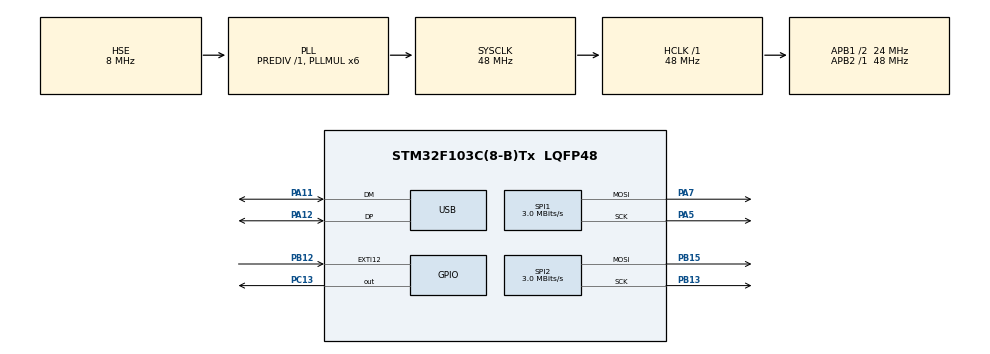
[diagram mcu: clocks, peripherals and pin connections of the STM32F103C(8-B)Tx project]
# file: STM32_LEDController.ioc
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Dma.Request0=SPI2_TX
Dma.Request1=SPI1_TX
Dma.SPI1_TX.1.Direction=DMA_MEMORY_TO_PERIPH
Dma.SPI1_TX.1.Instance=DMA1_Channel3
Dma.SPI1_TX.1.MemDataAlignment=DMA_MDATAALIGN_BYTE
Dma.SPI1_TX.1.MemInc=DMA_MINC_ENABLE
Dma.SPI1_TX.1.Mode=DMA_NORMAL
Dma.SPI1_TX.1.PeriphDataAlignment=DMA_PDATAALIGN_BYTE
Dma.SPI1_TX.1.PeriphInc=DMA_PINC_DISABLE
Dma.SPI1_TX.1.Priority=DMA_PRIORITY_HIGH
Dma.SPI2_TX.0.Direction=DMA_MEMORY_TO_PERIPH
Dma.SPI2_TX.0.Instance=DMA1_Channel5
Dma.SPI2_TX.0.MemDataAlignment=DMA_MDATAALIGN_BYTE
Dma.SPI2_TX.0.MemInc=DMA_MINC_ENABLE
Dma.SPI2_TX.0.Mode=DMA_NORMAL
Dma.SPI2_TX.0.PeriphDataAlignment=DMA_PDATAALIGN_BYTE
Dma.SPI2_TX.0.PeriphInc=DMA_PINC_DISABLE
Dma.SPI2_TX.0.Priority=DMA_PRIORITY_HIGH
Mcu.Family=STM32F1
Mcu.Name=STM32F103C(8-B)Tx
Mcu.Package=LQFP48
NVIC.DMA1_Channel3_IRQn=true\:0\:0\:false\:false\:true\:false\:true
NVIC.DMA1_Channel5_IRQn=true\:0\:0\:false\:false\:true\:false\:true
NVIC.EXTI15_10_IRQn=true\:0\:0\:false\:false\:true\:true\:true
NVIC.PriorityGroup=NVIC_PRIORITYGROUP_4
NVIC.TIM2_IRQn=true\:0\:0\:false\:false\:true\:true\:true
NVIC.TIM3_IRQn=true\:0\:0\:false\:false\:true\:true\:true
NVIC.TIM4_IRQn=true\:0\:0\:false\:false\:true\:true\:true
NVIC.USB_LP_CAN1_RX0_IRQn=true\:0\:0\:false\:false\:true\:false\:true
PA11.Mode=Device
PA11.Signal=USB_DM
PA12.Mode=Device
PA12.Signal=USB_DP
PA13.Mode=Trace_Asynchronous_SW
PA13.Signal=SYS_JTMS-SWDIO
PA14.Mode=Trace_Asynchronous_SW
PA14.Signal=SYS_JTCK-SWCLK
PA5.Mode=TX_Only_Simplex_Unidirect_Master
PA5.Signal=SPI1_SCK
PA7.Mode=TX_Only_Simplex_Unidirect_Master
PA7.Signal=SPI1_MOSI
PB12.GPIO_ModeDefaultEXTI=GPIO_MODE_IT_RISING_FALLING
PB12.Signal=GPXTI12
PB13.Mode=TX_Only_Simplex_Unidirect_Master
PB13.Signal=SPI2_SCK
PB15.Mode=TX_Only_Simplex_Unidirect_Master
PB15.Signal=SPI2_MOSI
PB3.Mode=Trace_Asynchronous_SW
PB3.Signal=SYS_JTDO-TRACESWO
PC13-TAMPER-RTC.Signal=GPIO_Output
PD0-OSC_IN.Mode=HSE-External-Oscillator
PD0-OSC_IN.Signal=RCC_OSC_IN
PD1-OSC_OUT.Mode=HSE-External-Oscillator
PD1-OSC_OUT.Signal=RCC_OSC_OUT
ProjectManager.HeapSize=0x200
ProjectManager.StackSize=0x400
ProjectManager.TargetToolchain=STM32CubeIDE
RCC.AHBFreq_Value=48000000
RCC.APB1CLKDivider=RCC_HCLK_DIV2
RCC.APB1Freq_Value=24000000
RCC.APB1TimFreq_Value=48000000
RCC.APB2Freq_Value=48000000
RCC.APB2TimFreq_Value=48000000
RCC.HCLKFreq_Value=48000000
RCC.PLLMUL=RCC_PLL_MUL6
RCC.SYSCLKFreq_VALUE=48000000
RCC.SYSCLKSource=RCC_SYSCLKSOURCE_PLLCLK
RCC.USBFreq_Value=48000000
SPI1.BaudRatePrescaler=SPI_BAUDRATEPRESCALER_16
SPI1.CalculateBaudRate=3.0 MBits/s
SPI1.Direction=SPI_DIRECTION_2LINES
SPI1.Mode=SPI_MODE_MASTER
SPI1.VirtualType=VM_MASTER
SPI2.BaudRatePrescaler=SPI_BAUDRATEPRESCALER_8
SPI2.CalculateBaudRate=3.0 MBits/s
SPI2.Direction=SPI_DIRECTION_2LINES
SPI2.Mode=SPI_MODE_MASTER
SPI2.VirtualType=VM_MASTER
TIM2.Period=3000
TIM2.Prescaler=48000
TIM3.Period=3000
TIM3.Prescaler=48000
TIM4.Period=3000
TIM4.Prescaler=48000
USB.low_power_enable=DISABLE
USB_DEVICE.CLASS_NAME_FS=CDC
USB_DEVICE.PRODUCT_STRING_CDC_FS=STM32 Virtual ComPort
USB_DEVICE.USBD_DEBUG_LEVEL=0
USB_DEVICE.USBD_MAX_STR_DESC_SIZ=1024
USB_DEVICE.USBD_SELF_POWERED=0
USB_DEVICE.VirtualMode=Cdc
USB_DEVICE.VirtualModeFS=Cdc_FS
VP_TIM2_VS_ClockSourceINT.Mode=Internal
VP_TIM3_VS_ClockSourceINT.Mode=Internal
VP_TIM4_VS_ClockSourceINT.Mode=Internal
VP_USB_DEVICE_VS_USB_DEVICE_CDC_FS.Mode=CDC_FS
board=custom

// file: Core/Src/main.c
/* USER CODE BEGIN Header */
/**
 ******************************************************************************
 * @file           : main.c
 * @brief          : Main program body
 ******************************************************************************
 * @attention
 *
 * <h2><center>&copy; Copyright (c) 2020 STMicroelectronics.
 * All rights reserved.</center></h2>
 *
 * This software component is licensed by ST under BSD 3-Clause license,
 * the "License"; You may not use this file except in compliance with the
 * License. You may obtain a copy of the License at:
 *                        opensource.org/licenses/BSD-3-Clause
 *
 ******************************************************************************
 */
/* USER CODE END Header */

#include "main.h"
#include "usb_device.h"

/* USER CODE BEGIN Includes */
#include "led_app.h"
#include "stdio.h"
#include "led_test.h"
#include "button_app.h"
/* USER CODE END Includes */

/* USER CODE BEGIN PD */
#include "usbd_cdc_if.h"
/* USER CODE END PD */

SPI_HandleTypeDef hspi1;
SPI_HandleTypeDef hspi2;
DMA_HandleTypeDef hdma_spi1_tx;
DMA_HandleTypeDef hdma_spi2_tx;

TIM_HandleTypeDef htim2;
TIM_HandleTypeDef htim3;
TIM_HandleTypeDef htim4;

void SystemClock_Config(void);
static void MX_GPIO_Init(void);
static void MX_DMA_Init(void);
static void MX_SPI2_Init(void);
static void MX_SPI1_Init(void);
static void MX_TIM2_Init(void);
static void MX_TIM3_Init(void);
static void MX_TIM4_Init(void);

int main(void) {

	/* MCU Configuration--------------------------------------------------------*/
-
	/* Reset of all peripherals, Initializes the Flash interface and the Systick. */
	HAL_Init();

	/* Configure the system clock */
	SystemClock_Config();

	/* USER CODE BEGIN SysInit */
	debug_log("Q-loud LED Controller v1.0");
	/* USER CODE END SysInit */

	/* Initialize all configured peripherals */
	MX_GPIO_Init();
	MX_DMA_Init();
	MX_SPI2_Init();
	MX_SPI1_Init();
	MX_TIM2_Init();
	MX_TIM3_Init();
	MX_USB_DEVICE_Init();
	MX_TIM4_Init();
	/* USER CODE BEGIN 2 */
	HAL_GPIO_WritePin(GPIOC, GPIO_PIN_13, GPIO_PIN_RESET);
	HAL_Delay(1000);
	HAL_GPIO_WritePin(GPIOC, GPIO_PIN_13, GPIO_PIN_SET);
	USB_initRxConfig();
	initializeSPIAdapter(&hspi1, &hspi2);
	initializeLEDApplication(&htim2, &htim3);
	initializeButtonApp(GPIOB, GPIO_PIN_12);
	debug_log("Initialization done.");
#ifdef TEST_ACTIVE
	initTestTimer(&htim4);
#endif
	/* USER CODE END 2 */

	/* Infinite loop */
	while (1) {

		/* USER CODE BEGIN 3 */
		runLEDApplication();
	}
	/* USER CODE END 3 */
}

void SystemClock_Config(void) {
	RCC_OscInitTypeDef RCC_OscInitStruct = { 0 };
	RCC_ClkInitTypeDef RCC_ClkInitStruct = { 0 };
	RCC_PeriphCLKInitTypeDef PeriphClkInit = { 0 };

	/** Initializes the CPU, AHB and APB busses clocks
	 */
	RCC_OscInitStruct.OscillatorType = RCC_OSCILLATORTYPE_HSE;
	RCC_OscInitStruct.HSEState = RCC_HSE_ON;
	RCC_OscInitStruct.HSEPredivValue = RCC_HSE_PREDIV_DIV1;
	RCC_OscInitStruct.HSIState = RCC_HSI_ON;
	RCC_OscInitStruct.PLL.PLLState = RCC_PLL_ON;
	RCC_OscInitStruct.PLL.PLLSource = RCC_PLLSOURCE_HSE;
	RCC_OscInitStruct.PLL.PLLMUL = RCC_PLL_MUL6;
	if (HAL_RCC_OscConfig(&RCC_OscInitStruct) != HAL_OK) {
		Error_Handler();
	}
	/** Initializes the CPU, AHB and APB busses clocks
	 */
	RCC_ClkInitStruct.ClockType = RCC_CLOCKTYPE_HCLK | RCC_CLOCKTYPE_SYSCLK
			| RCC_CLOCKTYPE_PCLK1 | RCC_CLOCKTYPE_PCLK2;
	RCC_ClkInitStruct.SYSCLKSource = RCC_SYSCLKSOURCE_PLLCLK;
	RCC_ClkInitStruct.AHBCLKDivider = RCC_SYSCLK_DIV1;
	RCC_ClkInitStruct.APB1CLKDivider = RCC_HCLK_DIV2;
	RCC_ClkInitStruct.APB2CLKDivider = RCC_HCLK_DIV1;

	if (HAL_RCC_ClockConfig(&RCC_ClkInitStruct, FLASH_LATENCY_1) != HAL_OK) {
		Error_Handler();
	}
	PeriphClkInit.PeriphClockSelection = RCC_PERIPHCLK_USB;
	PeriphClkInit.UsbClockSelection = RCC_USBCLKSOURCE_PLL;
	if (HAL_RCCEx_PeriphCLKConfig(&PeriphClkInit) != HAL_OK) {
		Error_Handler();
	}
}

static void MX_SPI1_Init(void) {

	/* SPI1 parameter configuration*/
	hspi1.Instance = SPI1;
	hspi1.Init.Mode = SPI_MODE_MASTER;
	hspi1.Init.Direction = SPI_DIRECTION_2LINES;
	hspi1.Init.DataSize = SPI_DATASIZE_8BIT;
	hspi1.Init.CLKPolarity = SPI_POLARITY_LOW;
	hspi1.Init.CLKPhase = SPI_PHASE_1EDGE;
	hspi1.Init.NSS = SPI_NSS_SOFT;
	hspi1.Init.BaudRatePrescaler = SPI_BAUDRATEPRESCALER_16;
	hspi1.Init.FirstBit = SPI_FIRSTBIT_MSB;
	hspi1.Init.TIMode = SPI_TIMODE_DISABLE;
	hspi1.Init.CRCCalculation = SPI_CRCCALCULATION_DISABLE;
	hspi1.Init.CRCPolynomial = 10;
	if (HAL_SPI_Init(&hspi1) != HAL_OK) {
		Error_Handler();
	}

}

static void MX_SPI2_Init(void) {

	/* SPI2 parameter configuration*/
	hspi2.Instance = SPI2;
	hspi2.Init.Mode = SPI_MODE_MASTER;
	hspi2.Init.Direction = SPI_DIRECTION_2LINES;
	hspi2.Init.DataSize = SPI_DATASIZE_8BIT;
	hspi2.Init.CLKPolarity = SPI_POLARITY_LOW;
	hspi2.Init.CLKPhase = SPI_PHASE_1EDGE;
	hspi2.Init.NSS = SPI_NSS_SOFT;
	hspi2.Init.BaudRatePrescaler = SPI_BAUDRATEPRESCALER_8;
	hspi2.Init.FirstBit = SPI_FIRSTBIT_MSB;
	hspi2.Init.TIMode = SPI_TIMODE_DISABLE;
	hspi2.Init.CRCCalculation = SPI_CRCCALCULATION_DISABLE;
	hspi2.Init.CRCPolynomial = 10;
	if (HAL_SPI_Init(&hspi2) != HAL_OK) {
		Error_Handler();
	}

}

static void MX_TIM2_Init(void) {

	TIM_ClockConfigTypeDef sClockSourceConfig = { 0 };
	TIM_MasterConfigTypeDef sMasterConfig = { 0 };

	/* USER CODE BEGIN TIM2_Init 1 */
	htim2.Init.RepetitionCounter = 1;
	/* USER CODE END TIM2_Init 1 */
	htim2.Instance = TIM2;
	htim2.Init.Prescaler = 48000;
	htim2.Init.CounterMode = TIM_COUNTERMODE_UP;
	htim2.Init.Period = 3000;
	htim2.Init.ClockDivision = TIM_CLOCKDIVISION_DIV1;
	htim2.Init.AutoReloadPreload = TIM_AUTORELOAD_PRELOAD_DISABLE;
	if (HAL_TIM_Base_Init(&htim2) != HAL_OK) {
		Error_Handler();
	}
	sClockSourceConfig.ClockSource = TIM_CLOCKSOURCE_INTERNAL;
	if (HAL_TIM_ConfigClockSource(&htim2, &sClockSourceConfig) != HAL_OK) {
		Error_Handler();
	}
	sMasterConfig.MasterOutputTrigger = TIM_TRGO_RESET;
	sMasterConfig.MasterSlaveMode = TIM_MASTERSLAVEMODE_DISABLE;
	if (HAL_TIMEx_MasterConfigSynchronization(&htim2, &sMasterConfig)
			!= HAL_OK) {
		Error_Handler();
	}

}

static void MX_TIM3_Init(void) {

	TIM_ClockConfigTypeDef sClockSourceConfig = { 0 };
	TIM_MasterConfigTypeDef sMasterConfig = { 0 };

	htim3.Instance = TIM3;
	htim3.Init.Prescaler = 48000;
	htim3.Init.CounterMode = TIM_COUNTERMODE_UP;
	htim3.Init.Period = 3000;
	htim3.Init.ClockDivision = TIM_CLOCKDIVISION_DIV1;
	htim3.Init.AutoReloadPreload = TIM_AUTORELOAD_PRELOAD_DISABLE;
	if (HAL_TIM_Base_Init(&htim3) != HAL_OK) {
		Error_Handler();
	}
	sClockSourceConfig.ClockSource = TIM_CLOCKSOURCE_INTERNAL;
	if (HAL_TIM_ConfigClockSource(&htim3, &sClockSourceConfig) != HAL_OK) {
		Error_Handler();
	}
	sMasterConfig.MasterOutputTrigger = TIM_TRGO_RESET;
	sMasterConfig.MasterSlaveMode = TIM_MASTERSLAVEMODE_DISABLE;
	if (HAL_TIMEx_MasterConfigSynchronization(&htim3, &sMasterConfig)
			!= HAL_OK) {
		Error_Handler();
	}

}

static void MX_TIM4_Init(void) {

	TIM_ClockConfigTypeDef sClockSourceConfig = { 0 };
	TIM_MasterConfigTypeDef sMasterConfig = { 0 };

	htim4.Instance = TIM4;
	htim4.Init.Prescaler = 48000;
	htim4.Init.CounterMode = TIM_COUNTERMODE_UP;
	htim4.Init.Period = 3000;
	htim4.Init.ClockDivision = TIM_CLOCKDIVISION_DIV1;
	htim4.Init.AutoReloadPreload = TIM_AUTORELOAD_PRELOAD_DISABLE;
	if (HAL_TIM_Base_Init(&htim4) != HAL_OK) {
		Error_Handler();
	}
	sClockSourceConfig.ClockSource = TIM_CLOCKSOURCE_INTERNAL;
	if (HAL_TIM_ConfigClockSource(&htim4, &sClockSourceConfig) != HAL_OK) {
		Error_Handler();
	}
	sMasterConfig.MasterOutputTrigger = TIM_TRGO_RESET;
	sMasterConfig.MasterSlaveMode = TIM_MASTERSLAVEMODE_DISABLE;
	if (HAL_TIMEx_MasterConfigSynchronization(&htim4, &sMasterConfig)
			!= HAL_OK) {
		Error_Handler();
	}

}

static void MX_DMA_Init(void) {

	/* DMA controller clock enable */
	__HAL_RCC_DMA1_CLK_ENABLE();

	/* DMA interrupt init */
	/* DMA1_Channel3_IRQn interrupt configuration */
	HAL_NVIC_SetPriority(DMA1_Channel3_IRQn, 0, 0);
	HAL_NVIC_EnableIRQ(DMA1_Channel3_IRQn);
	/* DMA1_Channel5_IRQn interrupt configuration */
	HAL_NVIC_SetPriority(DMA1_Channel5_IRQn, 0, 0);
	HAL_NVIC_EnableIRQ(DMA1_Channel5_IRQn);

}

static void MX_GPIO_Init(void) {
	GPIO_InitTypeDef GPIO_InitStruct = { 0 };

	/* GPIO Ports Clock Enable */
	__HAL_RCC_GPIOC_CLK_ENABLE();
	__HAL_RCC_GPIOD_CLK_ENABLE();
	__HAL_RCC_GPIOA_CLK_ENABLE();
	__HAL_RCC_GPIOB_CLK_ENABLE();

	/*Configure GPIO pin Output Level */
	HAL_GPIO_WritePin(GPIOC, GPIO_PIN_13, GPIO_PIN_RESET);

	/*Configure GPIO pin : PC13 */
	GPIO_InitStruct.Pin = GPIO_PIN_13;
	GPIO_InitStruct.Mode = GPIO_MODE_OUTPUT_PP;
	GPIO_InitStruct.Pull = GPIO_NOPULL;
	GPIO_InitStruct.Speed = GPIO_SPEED_FREQ_LOW;
	HAL_GPIO_Init(GPIOC, &GPIO_InitStruct);

	/*Configure GPIO pin : PB12 */
	GPIO_InitStruct.Pin = GPIO_PIN_12;
	GPIO_InitStruct.Mode = GPIO_MODE_IT_RISING_FALLING;
	GPIO_InitStruct.Pull = GPIO_NOPULL;
	HAL_GPIO_Init(GPIOB, &GPIO_InitStruct);

	/* EXTI interrupt init*/
	HAL_NVIC_SetPriority(EXTI15_10_IRQn, 0, 0);
	HAL_NVIC_EnableIRQ(EXTI15_10_IRQn);

}

void Error_Handler(void) {
}

/************************ (C) COPYRIGHT STMicroelectronics *****END OF FILE****/
